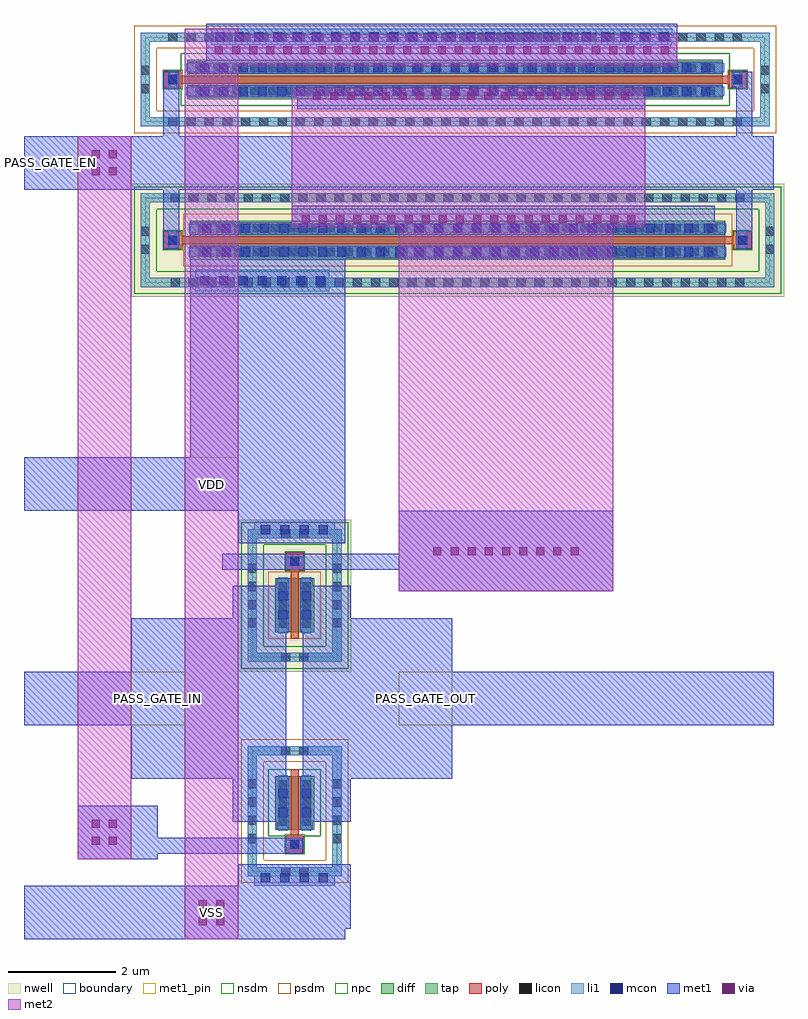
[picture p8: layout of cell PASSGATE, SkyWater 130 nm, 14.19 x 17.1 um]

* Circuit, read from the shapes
.subckt PASSGATE PASS_GATE_EN PASS_GATE_IN PASS_GATE_OUT VDD VSS
XM1 VSS PASS_GATE_EN n1 VSS sky130_fd_pr__nfet_01v8 w=10 l=0.15
XM2 PASS_GATE_OUT PASS_GATE_EN PASS_GATE_IN VSS sky130_fd_pr__nfet_01v8 w=1 l=0.15
XM3 n1 PASS_GATE_EN VDD VDD sky130_fd_pr__pfet_01v8 w=10 l=0.15
XM4 PASS_GATE_OUT n1 PASS_GATE_IN VDD sky130_fd_pr__pfet_01v8 w=1 l=0.15
.ends

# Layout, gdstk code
from math import pi, radians
import gdstk
lib = gdstk.Library(unit=1e-6, precision=1e-09)
def R(c, l, rs):  # rectangles x0, y0, x1, y1
    for r in rs: c.add(gdstk.rectangle(r[:2], r[2:], *l))
def A(c, l, x, y, w, h, nx, ny, dx, dy):  # array of equal rectangles
    R(c, l, [(x+i*dx, y+j*dy, x+i*dx+w, y+j*dy+h) for i in range(nx) for j in range(ny)])
nwell = (64, 20)
diff = (65, 20)
tap = (65, 44)
poly = (66, 20)
licon = (66, 44)
li1 = (67, 20)
mcon = (67, 44)
met1_pin = (68, 16)
met1 = (68, 20)
via = (68, 44)
met2 = (69, 20)
nsdm = (93, 44)
psdm = (94, 20)
npc = (95, 20)
boundary = (235, 4)

sky130_fd_pr__nfet_01v8_ = lib.new_cell('sky130_fd_pr__nfet_01v8_64QSBY')
R(sky130_fd_pr__nfet_01v8_, diff, [(-0.365,-0.345,0.365,0.655)])
R(sky130_fd_pr__nfet_01v8_, tap, [(-0.875,-1.215,0.875,-1.045), (-0.875,-1.045,-0.705,1.045), (0.705,-1.045,0.875,1.045), (-0.875,1.045,0.875,1.215)])
R(sky130_fd_pr__nfet_01v8_, poly, [(-0.165,-0.785,0.165,-0.455), (-0.075,-0.455,0.075,0.785)])
A(sky130_fd_pr__nfet_01v8_, licon, -0.875, -0.595, 0.17, 0.17, 1, 4, 0, 0.34)
A(sky130_fd_pr__nfet_01v8_, licon, 0.705, -0.595, 0.17, 0.17, 1, 4, 0, 0.34)
A(sky130_fd_pr__nfet_01v8_, licon, -0.305, -0.27, 0.17, 0.17, 1, 3, 0, 0.34)
A(sky130_fd_pr__nfet_01v8_, licon, 0.135, -0.27, 0.17, 0.17, 1, 3, 0, 0.34)
R(sky130_fd_pr__nfet_01v8_, licon, [(-0.255,-1.215,-0.085,-1.045), (0.085,-1.215,0.255,-1.045), (-0.085,-0.705,0.085,-0.535), (-0.255,1.045,-0.085,1.215), (0.085,1.045,0.255,1.215)])
R(sky130_fd_pr__nfet_01v8_, li1, [(-0.875,-1.215,0.875,-1.045), (-0.875,-1.045,-0.705,1.045), (0.705,-1.045,0.875,1.045), (-0.165,-0.705,0.165,-0.535), (-0.305,-0.365,-0.135,0.675), (0.135,-0.365,0.305,0.675), (-0.875,1.045,0.875,1.215)])
R(sky130_fd_pr__nfet_01v8_, mcon, [(-0.085,-0.705,0.085,-0.535), (-0.305,-0.11,-0.135,0.06), (0.135,-0.11,0.305,0.06), (-0.305,0.25,-0.135,0.42), (0.135,0.25,0.305,0.42)])
R(sky130_fd_pr__nfet_01v8_, met1, [(-0.145,-0.735,0.145,-0.505), (-0.335,-0.345,-0.105,0.655), (0.105,-0.345,0.335,0.655)])
R(sky130_fd_pr__nfet_01v8_, nsdm, [(-0.49,-0.47,0.49,0.78)])
R(sky130_fd_pr__nfet_01v8_, psdm, [(-1,-1.34,1,-0.92), (-1,-0.92,-0.58,0.92), (0.58,-0.92,1,0.92), (-1,0.92,1,1.34)])
R(sky130_fd_pr__nfet_01v8_, npc, [(-0.185,-0.805,0.185,-0.435)])
R(sky130_fd_pr__nfet_01v8_, boundary, [(-0.79,-1.13,0.79,1.13)])

sky130_fd_pr__pfet_01v8_ = lib.new_cell('sky130_fd_pr__pfet_01v8_MGS3BN')
R(sky130_fd_pr__pfet_01v8_, nwell, [(-1.055,-1.42,1.055,1.42)])
R(sky130_fd_pr__pfet_01v8_, diff, [(-0.365,-0.68,0.365,0.32)])
R(sky130_fd_pr__pfet_01v8_, tap, [(-0.875,-1.24,0.875,-1.07), (-0.875,-1.07,-0.705,1.07), (0.705,-1.07,0.875,1.07), (-0.875,1.07,0.875,1.24)])
R(sky130_fd_pr__pfet_01v8_, poly, [(-0.075,-0.81,0.075,0.475), (-0.165,0.475,0.165,0.805)])
A(sky130_fd_pr__pfet_01v8_, licon, -0.305, -0.605, 0.17, 0.17, 1, 3, 0, 0.34)
A(sky130_fd_pr__pfet_01v8_, licon, 0.135, -0.605, 0.17, 0.17, 1, 3, 0, 0.34)
A(sky130_fd_pr__pfet_01v8_, licon, -0.875, -0.595, 0.17, 0.17, 1, 4, 0, 0.34)
A(sky130_fd_pr__pfet_01v8_, licon, 0.705, -0.595, 0.17, 0.17, 1, 4, 0, 0.34)
R(sky130_fd_pr__pfet_01v8_, licon, [(-0.255,-1.24,-0.085,-1.07), (0.085,-1.24,0.255,-1.07), (-0.085,0.555,0.085,0.725), (-0.255,1.07,-0.085,1.24), (0.085,1.07,0.255,1.24)])
R(sky130_fd_pr__pfet_01v8_, li1, [(-0.875,-1.24,0.875,-1.07), (-0.875,-1.07,-0.705,1.07), (0.705,-1.07,0.875,1.07), (-0.305,-0.7,-0.135,0.34), (0.135,-0.7,0.305,0.34), (-0.165,0.555,0.165,0.725), (-0.875,1.07,0.875,1.24)])
R(sky130_fd_pr__pfet_01v8_, mcon, [(-0.305,-0.445,-0.135,-0.275), (0.135,-0.445,0.305,-0.275), (-0.305,-0.085,-0.135,0.085), (0.135,-0.085,0.305,0.085), (-0.085,0.555,0.085,0.725)])
R(sky130_fd_pr__pfet_01v8_, met1, [(-0.335,-0.68,-0.105,0.32), (0.105,-0.68,0.335,0.32), (-0.145,0.525,0.145,0.755)])
R(sky130_fd_pr__pfet_01v8_, nsdm, [(-1,-1.365,1,-0.945), (-1,-0.945,-0.58,0.945), (0.58,-0.945,1,0.945), (-1,0.945,1,1.365)])
R(sky130_fd_pr__pfet_01v8_, psdm, [(-0.49,-0.805,0.49,0.445)])
R(sky130_fd_pr__pfet_01v8_, npc, [(-0.185,0.455,0.185,0.825)])
R(sky130_fd_pr__pfet_01v8_, boundary, [(-0.79,-1.155,0.79,1.155)])

c_sky130_fd_pr__nfet_01v8_ = lib.new_cell('sky130_fd_pr__nfet_01v8_A5ES5P')
R(c_sky130_fd_pr__nfet_01v8_, diff, [(-0.365,-5,0.365,5)])
R(c_sky130_fd_pr__nfet_01v8_, tap, [(-0.875,-5.87,0.875,-5.7), (-0.875,-5.7,-0.705,5.7), (0.705,-5.7,0.875,5.7), (-0.875,5.7,0.875,5.87)])
R(c_sky130_fd_pr__nfet_01v8_, poly, [(-0.165,-5.44,0.165,-5.11), (-0.075,-5.11,0.075,5.11), (-0.165,5.11,0.165,5.44)])
A(c_sky130_fd_pr__nfet_01v8_, licon, -0.875, -5.355, 0.17, 0.17, 1, 32, 0, 0.34)
A(c_sky130_fd_pr__nfet_01v8_, licon, 0.705, -5.355, 0.17, 0.17, 1, 32, 0, 0.34)
A(c_sky130_fd_pr__nfet_01v8_, licon, -0.305, -4.845, 0.17, 0.17, 1, 29, 0, 0.34)
A(c_sky130_fd_pr__nfet_01v8_, licon, 0.135, -4.845, 0.17, 0.17, 1, 29, 0, 0.34)
R(c_sky130_fd_pr__nfet_01v8_, licon, [(-0.255,-5.87,-0.085,-5.7), (0.085,-5.87,0.255,-5.7), (-0.085,-5.36,0.085,-5.19), (-0.085,5.19,0.085,5.36), (-0.255,5.7,-0.085,5.87), (0.085,5.7,0.255,5.87)])
R(c_sky130_fd_pr__nfet_01v8_, li1, [(-0.875,-5.87,0.875,-5.7), (-0.875,-5.7,-0.705,5.7), (0.705,-5.7,0.875,5.7), (-0.165,-5.36,0.165,-5.19), (-0.305,-5.02,-0.135,5.02), (0.135,-5.02,0.305,5.02), (-0.165,5.19,0.165,5.36), (-0.875,5.7,0.875,5.87)])
A(c_sky130_fd_pr__nfet_01v8_, mcon, -0.305, -4.765, 0.17, 0.17, 1, 27, 0, 0.36)
A(c_sky130_fd_pr__nfet_01v8_, mcon, 0.135, -4.765, 0.17, 0.17, 1, 27, 0, 0.36)
R(c_sky130_fd_pr__nfet_01v8_, mcon, [(-0.085,-5.36,0.085,-5.19), (-0.085,5.19,0.085,5.36)])
R(c_sky130_fd_pr__nfet_01v8_, met1, [(-0.145,-5.39,0.145,-5.16), (-0.335,-5,-0.105,5), (0.105,-5,0.335,5), (-0.145,5.16,0.145,5.39)])
R(c_sky130_fd_pr__nfet_01v8_, nsdm, [(-0.49,-5.125,0.49,5.125)])
R(c_sky130_fd_pr__nfet_01v8_, psdm, [(-1,-5.995,1,-5.575), (-1,-5.575,-0.58,5.575), (0.58,-5.575,1,5.575), (-1,5.575,1,5.995)])
R(c_sky130_fd_pr__nfet_01v8_, npc, [(-0.185,-5.46,0.185,-5.09), (-0.185,5.09,0.185,5.46)])
R(c_sky130_fd_pr__nfet_01v8_, boundary, [(-0.79,-5.785,0.79,5.785)])

c_sky130_fd_pr__pfet_01v8_ = lib.new_cell('sky130_fd_pr__pfet_01v8_XGA8MR')
R(c_sky130_fd_pr__pfet_01v8_, nwell, [(-1.055,-6.095,1.055,6.095)])
R(c_sky130_fd_pr__pfet_01v8_, diff, [(-0.365,-5,0.365,5)])
R(c_sky130_fd_pr__pfet_01v8_, tap, [(-0.875,-5.915,0.875,-5.745), (-0.875,-5.745,-0.705,5.745), (0.705,-5.745,0.875,5.745), (-0.875,5.745,0.875,5.915)])
R(c_sky130_fd_pr__pfet_01v8_, poly, [(-0.165,-5.485,0.165,-5.155), (-0.075,-5.155,0.075,5.155), (-0.165,5.155,0.165,5.485)])
A(c_sky130_fd_pr__pfet_01v8_, licon, -0.875, -5.355, 0.17, 0.17, 1, 32, 0, 0.34)
A(c_sky130_fd_pr__pfet_01v8_, licon, 0.705, -5.355, 0.17, 0.17, 1, 32, 0, 0.34)
A(c_sky130_fd_pr__pfet_01v8_, licon, -0.305, -4.845, 0.17, 0.17, 1, 29, 0, 0.34)
A(c_sky130_fd_pr__pfet_01v8_, licon, 0.135, -4.845, 0.17, 0.17, 1, 29, 0, 0.34)
R(c_sky130_fd_pr__pfet_01v8_, licon, [(-0.255,-5.915,-0.085,-5.745), (0.085,-5.915,0.255,-5.745), (-0.085,-5.405,0.085,-5.235), (-0.085,5.235,0.085,5.405), (-0.255,5.745,-0.085,5.915), (0.085,5.745,0.255,5.915)])
R(c_sky130_fd_pr__pfet_01v8_, li1, [(-0.875,-5.915,0.875,-5.745), (-0.875,-5.745,-0.705,5.745), (0.705,-5.745,0.875,5.745), (-0.165,-5.405,0.165,-5.235), (-0.305,-5.02,-0.135,5.02), (0.135,-5.02,0.305,5.02), (-0.165,5.235,0.165,5.405), (-0.875,5.745,0.875,5.915)])
A(c_sky130_fd_pr__pfet_01v8_, mcon, -0.305, -4.765, 0.17, 0.17, 1, 27, 0, 0.36)
A(c_sky130_fd_pr__pfet_01v8_, mcon, 0.135, -4.765, 0.17, 0.17, 1, 27, 0, 0.36)
R(c_sky130_fd_pr__pfet_01v8_, mcon, [(-0.085,-5.405,0.085,-5.235), (-0.085,5.235,0.085,5.405)])
R(c_sky130_fd_pr__pfet_01v8_, met1, [(-0.145,-5.435,0.145,-5.205), (-0.335,-5,-0.105,5), (0.105,-5,0.335,5), (-0.145,5.205,0.145,5.435)])
R(c_sky130_fd_pr__pfet_01v8_, nsdm, [(-1,-6.04,1,-5.62), (-1,-5.62,-0.58,5.62), (0.58,-5.62,1,5.62), (-1,5.62,1,6.04)])
R(c_sky130_fd_pr__pfet_01v8_, psdm, [(-0.49,-5.125,0.49,5.125)])
R(c_sky130_fd_pr__pfet_01v8_, npc, [(-0.185,-5.505,0.185,-5.135), (-0.185,5.135,0.185,5.505)])
R(c_sky130_fd_pr__pfet_01v8_, boundary, [(-0.79,-5.83,0.79,5.83)])

passgate = lib.new_cell('PASSGATE')
R(passgate, li1, [(6.3,-7,7.8,-6.7), (6.3,-0.5,7.8,-0.2), (5.2,4.1,7.7,4.5), (5.5,8.7,14.1,9)])
A(passgate, mcon, 6.425, -6.935, 0.17, 0.17, 4, 2, 0.36, 6.5)
A(passgate, mcon, 5.285, 4.215, 0.17, 0.17, 7, 1, 0.36, 0)
A(passgate, mcon, 5.575, 8.765, 0.17, 0.17, 24, 1, 0.36, 0)
R(passgate, met1_pin, [(5,-8,6,-7), (4,-4,5,-3), (9,-4,10,-3), (5,0,6,1), (2,6,3,7)])
R(passgate, met1, [(2,-8,8,-7.8), (2,-7.8,8.1,-7), (6,-7,8.1,-6.6), (3,-6.5,4.5,-6.4), (3,-6.4,7.2,-6.1), (3,-6.1,4.5,-5.5), (5.9,-5.8,6.9,-5), (7.2,-5.8,8.1,-5), (4,-5,6.9,-4), (7.2,-5,10,-4), (2,-4,6.9,-3), (7.2,-4,16,-3), (4,-3,6.9,-2), (7.2,-3,10,-2), (5.9,-2,6.9,-1.4), (7.2,-2,8.1,-1.4), (9,-1.5,13,-1.1), (5.7,-1.1,13,-0.8), (9,-0.8,13,0), (6,-0.6,8,0), (2,0,8,1), (5.1,1,8,4.8), (4.6,4.9,4.9,6), (15.3,4.9,15.6,6), (7,5.3,14.9,5.7), (2,6,16,7), (4.6,7,4.9,8.2), (15.3,7,15.6,8.2), (7.1,7.5,13.6,7.9), (5.4,8.3,14.2,9.1)])
A(passgate, via, 9.645, -0.825, 0.15, 0.15, 9, 1, 0.32, 0)
A(passgate, via, 7.185, 5.375, 0.15, 0.15, 20, 1, 0.32, 0)
A(passgate, via, 7.395, 7.675, 0.15, 0.15, 19, 1, 0.32, 0)
A(passgate, via, 5.565, 8.525, 0.15, 0.15, 27, 1, 0.32, 0)
R(passgate, via, [(5.265,-7.735,5.415,-7.585), (5.585,-7.735,5.735,-7.585), (5.265,-7.415,5.415,-7.265), (5.585,-7.415,5.735,-7.265), (3.265,-6.235,3.415,-6.085), (3.585,-6.235,3.735,-6.085), (3.265,-5.915,3.415,-5.765), (3.585,-5.915,3.735,-5.765), (3.265,6.265,3.415,6.415), (3.585,6.265,3.735,6.415), (3.265,6.585,3.415,6.735), (3.585,6.585,3.735,6.735)])
R(passgate, met2, [(5,-8,6,8.3), (3,-6.5,4,7), (9,-1.5,13,5.3), (7,5.3,13.6,7.9), (5,8.3,14.2,8.9), (5,8.9,6,9)])
passgate.add(gdstk.Reference(sky130_fd_pr__nfet_01v8_, (7.055,-5.605)))
passgate.add(gdstk.Reference(sky130_fd_pr__pfet_01v8_, (7.055,-1.58)))
passgate.add(gdstk.Reference(c_sky130_fd_pr__nfet_01v8_, (10.05,8.055), rotation=3*pi/2))
passgate.add(gdstk.Reference(c_sky130_fd_pr__pfet_01v8_, (10.095,5.055), rotation=3*pi/2))
passgate.add(gdstk.Label('PASS_GATE_OUT', (9.5,-3.5), layer=68, texttype=5))
passgate.add(gdstk.Label('VSS', (5.5,-7.5), layer=68, texttype=5))
passgate.add(gdstk.Label('PASS_GATE_EN', (2.5,6.5), layer=68, texttype=5))
passgate.add(gdstk.Label('PASS_GATE_IN', (4.5,-3.5), layer=68, texttype=5))
passgate.add(gdstk.Label('VDD', (5.5,0.5), layer=68, texttype=5))

lib.write_gds('PASSGATE.gds')
